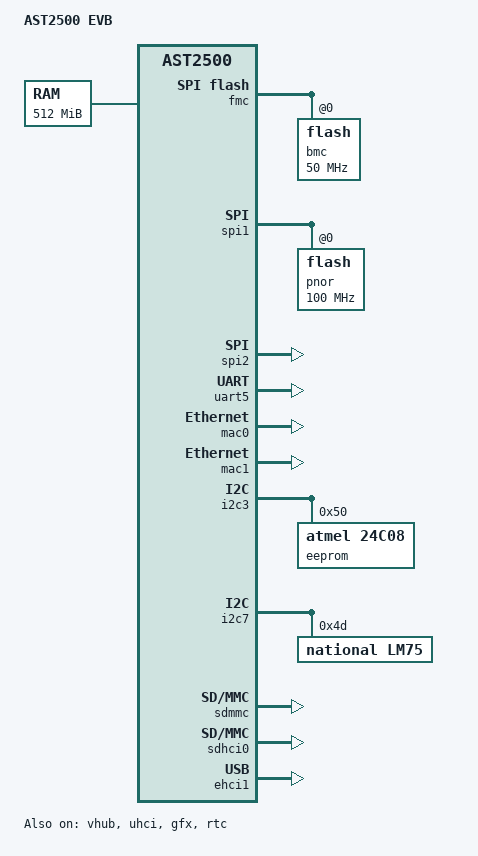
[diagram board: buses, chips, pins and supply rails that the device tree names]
// SPDX-License-Identifier: GPL-2.0+
/dts-v1/;

#include "aspeed-g5.dtsi"

/ {
	model = "AST2500 EVB";
	compatible = "aspeed,ast2500-evb", "aspeed,ast2500";

	aliases {
		serial4 = &uart5;
	};

	chosen {
		stdout-path = &uart5;
		bootargs = "console=tty0 console=ttyS4,115200 earlycon";
	};

	memory@80000000 {
		reg = <0x80000000 0x20000000>;
	};

	reserved-memory {
		#address-cells = <1>;
		#size-cells = <1>;
		ranges;

		gfx_memory: framebuffer {
			size = <0x01000000>;
			alignment = <0x01000000>;
			compatible = "shared-dma-pool";
			reusable;
		};
	};
};

&fmc {
	status = "okay";
	flash@0 {
		status = "okay";
		m25p,fast-read;
		label = "bmc";
		spi-max-frequency = <50000000>;
#include "openbmc-flash-layout.dtsi"
	};
};

&spi1 {
	status = "okay";
	flash@0 {
		status = "okay";
		m25p,fast-read;
		label = "pnor";
		spi-max-frequency = <100000000>;
	};
};

&spi2 {
	status = "okay";
};

&uart5 {
	status = "okay";
};

&mac0 {
	status = "okay";

	pinctrl-names = "default";
	pinctrl-0 = <&pinctrl_rgmii1_default &pinctrl_mdio1_default>;
};

&mac1 {
	status = "okay";

	pinctrl-names = "default";
	pinctrl-0 = <&pinctrl_rgmii2_default &pinctrl_mdio2_default>;
};

&i2c3 {
	status = "okay";

	eeprom@50 {
		compatible = "atmel,24c08";
		reg = <0x50>;
		pagesize = <16>;
	};
};

&i2c7 {
	status = "okay";

	lm75@4d {
		compatible = "national,lm75";
		reg = <0x4d>;
	};
};

&sdmmc {
	status = "okay";
};

&sdhci0 {
	status = "okay";

	pinctrl-names = "default";
	pinctrl-0 = <&pinctrl_sd1_default>;
};

/*
 * Enable port A as device (via the virtual hub) and port B as
 * host by default on the eval board. This can be easily changed
 * by replacing the override below with &ehci0 { ... } to enable
 * host on both ports.
 */
&vhub {
	status = "okay";
};

&ehci1 {
	status = "okay";
};

&uhci {
	status = "okay";
};

&gfx {
     status = "okay";
     memory-region = <&gfx_memory>;
};

&rtc {
	status = "okay";
};
